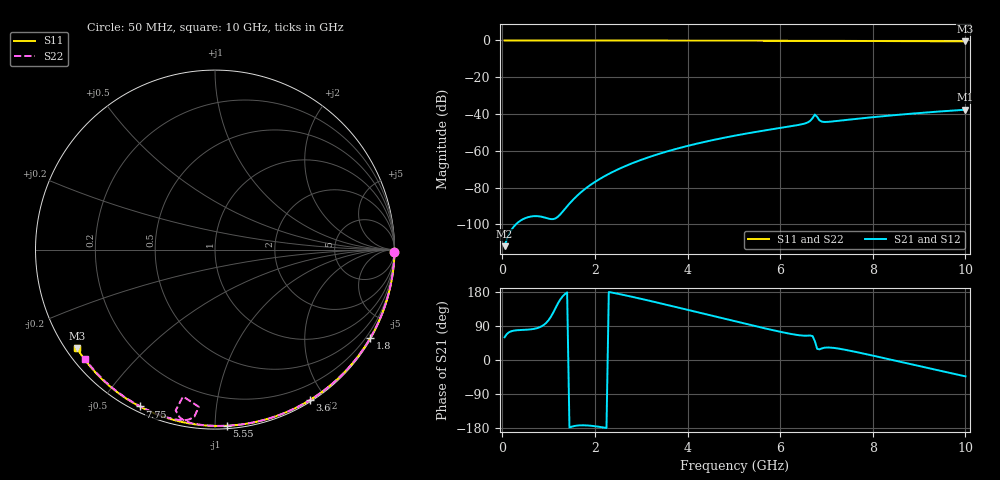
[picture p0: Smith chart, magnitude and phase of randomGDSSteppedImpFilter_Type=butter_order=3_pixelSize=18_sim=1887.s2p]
! freq	dB(S11)	phase(S11)	dB(S12)	phase(S12)
!  dB(S21)	phase(S21)	dB(S22)	phase(S22)
!S-par simulation data
#  GHz  S  DB  R 50
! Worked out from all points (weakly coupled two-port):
!   200 points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, 50 MHz to 10 GHz, reference 50 ohm
!   highest |S21| = -37.69 dB at 10 GHz (marker M1); lowest = -111.9 dB at 50 MHz (marker M2)
!   lowest |S11| = -0.5 dB at 10 GHz (marker M3), VSWR 35.42, Z = 1.56 - j16 ohm
!   |S11| at or under -10 dB: nowhere
!   |S22| runs from -1.5 to 0.0 dB; largest |S21 - S12| = 0
!   S11 on the Smith chart (normalised r, x): 50 MHz: open; 1.8 GHz: 0.03, -3.78; 3.6 GHz: 0.02, -1.81; 5.55 GHz: 0.02, -1.07; 7.75 GHz: 0.02, -0.63; 10 GHz: 0.03, -0.32
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0.05  -0.00 -0.8  -111.90 60.1  -111.90 60.1  -0.00 -0.8
0.9  -0.02 -15.0  -96.21 92.9  -96.21 92.9  -0.02 -14.6
1.75  -0.04 -28.9  -81.51 -172.3  -81.51 -172.3  -0.04 -28.0
1.8  -0.04 -29.7  -80.51 -172.5  -80.51 -172.5  -0.04 -28.8
2.2  -0.05 -36.1  -73.95 -178.4  -73.95 -178.4  -0.04 -35.1
2.55  -0.05 -41.6  -69.53 173.4  -69.53 173.4  -0.05 -40.5
2.95  -0.06 -47.9  -65.40 162.8  -65.40 162.8  -0.06 -46.6
3.4  -0.07 -54.8  -61.57 150.0  -61.57 150.0  -0.07 -53.3
3.6  -0.08 -57.9  -60.07 144.2  -60.07 144.2  -0.08 -56.3
4.3  -0.10 -68.3  -55.56 123.5  -55.56 123.5  -0.09 -66.5
5.05  -0.12 -79.2  -51.65 101.4  -51.65 101.4  -0.12 -77.2
5.55  -0.14 -86.2  -49.43 86.9  -49.43 86.9  -0.14 -84.1
6.5  -0.19 -99.2  -45.40 64.3  -45.40 64.3  -0.22 -98.1
6.6  -0.19 -100.5  -44.53 64.2  -44.53 64.2  -0.29 -100.3
6.7  -0.20 -101.9  -42.24 63.1  -42.24 63.1  -0.70 -103.7
6.75  -0.20 -102.5  -40.29 49.5  -40.29 49.5  -1.54 -102.3
6.8  -0.20 -103.2  -41.61 29.4  -41.61 29.4  -1.11 -95.9
6.85  -0.21 -103.9  -43.46 28.1  -43.46 28.1  -0.55 -97.0
6.95  -0.21 -105.2  -44.32 32.2  -44.32 32.2  -0.31 -100.0
7.75  -0.27 -115.7  -42.37 18.3  -42.37 18.3  -0.27 -111.9
8.35  -0.32 -123.4  -40.89 2.1  -40.89 2.1  -0.31 -119.6
10  -0.49 -144.5  -37.69 -43.2  -37.69 -43.2  -0.48 -140.0
